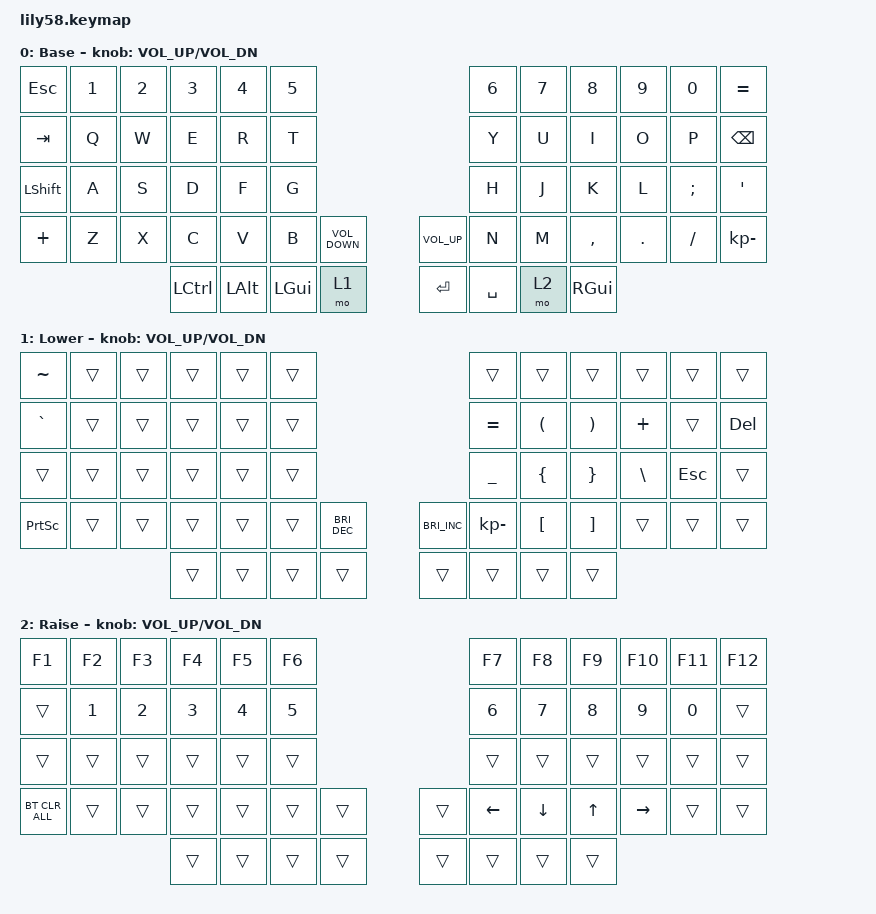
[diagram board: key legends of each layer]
/*
 * Copyright (c) 2020 The ZMK Contributors
 *
 * SPDX-License-Identifier: MIT
 */

#include <behaviors.dtsi>
#include <dt-bindings/zmk/bt.h>
#include <dt-bindings/zmk/keys.h>

/ {
    keymap {
        compatible = "zmk,keymap";

        windows {
            // ------------------------------------------------------------------------------------------------------------
            // |  ESC  |  1  |  2  |  3   |  4   |  5   |                   |  6   |  7    |  8    |  9   |   0   |   `   |
            // |  TAB  |  Q  |  W  |  E   |  R   |  T   |                   |  Y   |  U    |  I    |  O   |   P   |   -   |
            // |  CTRL |  A  |  S  |  D   |  F   |  G   |                   |  H   |  J    |  K    |  L   |   ;   |   '   |
            // | SHIFT |  Z  |  X  |  C   |  V   |  B   |   "["  |  |  "]"  |  N   |  M    |  ,    |  .   |   /   | SHIFT |
            //                     | ALT  | GUI  | LOWER|  SPACE |  | ENTER | RAISE| BSPC  | GUI   |

            display-name = "Base";
            bindings = <
&kp ESCAPE      &kp N1  &kp N2  &kp N3            &kp N4    &kp N5                                              &kp N6     &kp N7  &kp N8         &kp N9   &kp N0    &kp EQUAL
&kp TAB         &kp Q   &kp W   &kp E             &kp R     &kp T                                               &kp Y      &kp U   &kp I          &kp O    &kp P     &kp BACKSPACE
&kp LEFT_SHIFT  &kp A   &kp S   &kp D             &kp F     &kp G                                               &kp H      &kp J   &kp K          &kp L    &kp SEMI  &kp SINGLE_QUOTE
&kp PLUS        &kp Z   &kp X   &kp C             &kp V     &kp B         &kp C_VOLUME_DOWN    &kp C_VOLUME_UP  &kp N      &kp M   &kp COMMA      &kp DOT  &kp FSLH  &kp KP_MINUS
                                &kp LEFT_CONTROL  &kp LALT  &kp LEFT_GUI  &mo 1                &kp ENTER        &kp SPACE  &mo 2   &kp RIGHT_GUI
            >;

            sensor-bindings = <&inc_dec_kp C_VOL_UP C_VOL_DN>;
        };

        lower_layer {
            // ------------------------------------------------------------------------------------------------------------
            // | BTCLR | BT1 | BT2 |  BT3 |  BT4 |  BT5 |                   |      |       |       |      |       |       |
            // |  F1   |  F2 |  F3 |  F4  |  F5  |  F6  |                   |  F7  |  F8   |  F9   |  F10 |  F11  |  F12  |
            // |   `   |  !  |  @  |  #   |  $   |  %   |                   |  ^   |  &    |  *    |  (   |   )   |   ~   |
            // |       |     |     |      |      |      |        |  |       |      |  _    |  +    |  {   |   }   |  "|"  |
            //                     |      |      |      |        |  |       |      |       |       |

            display-name = "Lower";
            bindings = <
&kp TILDE        &trans  &trans  &trans  &trans  &trans                                                &trans          &trans                &trans                 &trans         &trans      &trans
&kp GRAVE        &trans  &trans  &trans  &trans  &trans                                                &kp EQUAL       &kp LEFT_PARENTHESIS  &kp RIGHT_PARENTHESIS  &kp PLUS       &trans      &kp DELETE
&trans           &trans  &trans  &trans  &trans  &trans                                                &kp UNDERSCORE  &kp LEFT_BRACE        &kp RIGHT_BRACE        &kp BACKSLASH  &kp ESCAPE  &trans
&kp PRINTSCREEN  &trans  &trans  &trans  &trans  &trans  &kp C_BRIGHTNESS_DEC    &kp C_BRIGHTNESS_INC  &kp KP_MINUS    &kp LEFT_BRACKET      &kp RIGHT_BRACKET      &trans         &trans      &trans
                                 &trans  &trans  &trans  &trans                  &trans                &trans          &trans                &trans
            >;

            sensor-bindings = <&inc_dec_kp C_VOL_UP C_VOL_DN>;
        };

        raise_layer {
            // ------------------------------------------------------------------------------------------------------------
            // |       |     |     |      |      |      |                   |      |       |       |      |       |       |
            // |   `   |  1  |  2  |  3   |  4   |  5   |                   |  6   |   7   |   8   |  9   |   0   |       |
            // |   F1  |  F2 |  F3 |  F4  |  F5  |  F6  |                   |      |   <-  |   v   |  ^   |  ->   |       |
            // |   F7  |  F8 |  F9 |  F10 |  F11 |  F12 |        |  |       |  +   |   -   |   =   |  [   |   ]   |   \   |
            //                     |      |      |      |        |  |       |      |       |       |

            display-name = "Raise";
            bindings = <
&kp F1          &kp F2        &kp F3        &kp F4        &kp F5        &kp F6                    &kp F7        &kp F8          &kp F9        &kp F10          &kp F11  &kp F12
&trans          &kp NUMBER_1  &kp NUMBER_2  &kp NUMBER_3  &kp NUMBER_4  &kp N5                    &kp NUMBER_6  &kp N7          &kp N8        &kp N9           &kp N0   &trans
&trans          &trans        &trans        &trans        &trans        &trans                    &trans        &trans          &trans        &trans           &trans   &trans
&bt BT_CLR_ALL  &trans        &trans        &trans        &trans        &trans  &trans    &trans  &kp LEFT      &kp DOWN_ARROW  &kp UP_ARROW  &kp RIGHT_ARROW  &trans   &trans
                                            &trans        &trans        &trans  &trans    &trans  &trans        &trans          &trans
            >;

            sensor-bindings = <&inc_dec_kp C_VOL_UP C_VOL_DN>;
        };
    };
};
